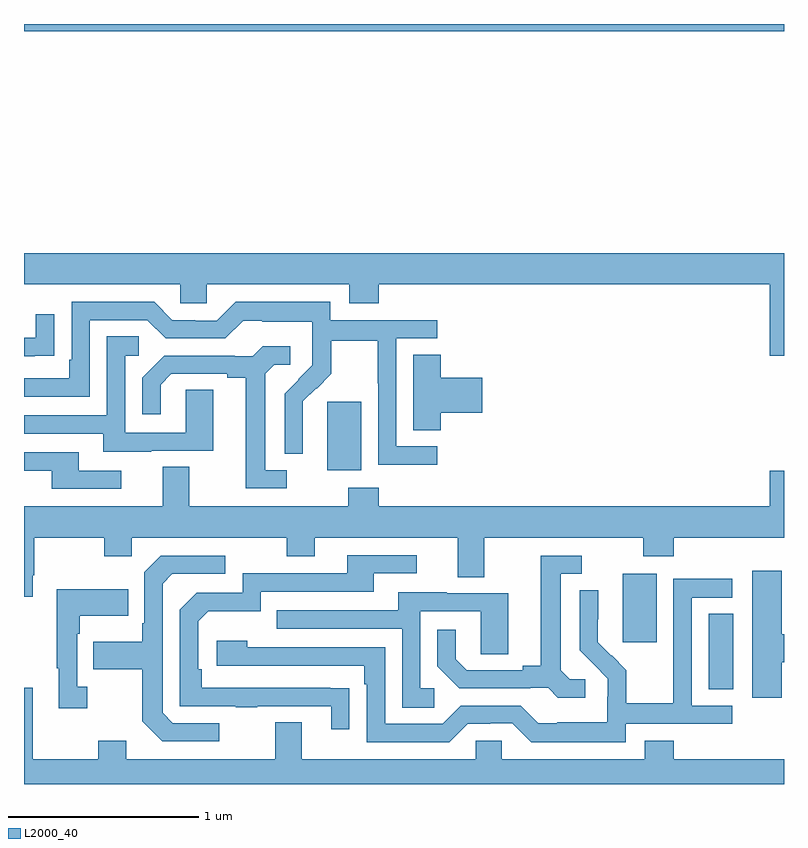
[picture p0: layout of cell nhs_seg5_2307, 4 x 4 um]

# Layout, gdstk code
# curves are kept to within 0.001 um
import gdstk
lib = gdstk.Library(unit=1e-6, precision=1e-09)
def R(c, l, rs):  # rectangles x0, y0, x1, y1
    for r in rs: c.add(gdstk.rectangle(r[:2], r[2:], *l))
def P(c, l, *ps):  # polygons
    for p in ps: c.add(gdstk.Polygon(p, *l))
L2000_40 = (2000, 40)

nhs_seg5_2307 = lib.new_cell('nhs_seg5_2307')
R(nhs_seg5_2307, L2000_40, [(248.603,853.297,248.734,853.694), (248.15,853.545,248.329,853.906), (246.596,854.45,246.775,854.811), (245,856.76,249,856.799)])
P(nhs_seg5_2307, L2000_40, [(249,855.592),(245,855.592),(245,855.428),(245.823,855.428),(245.823,855.33),(245.961,855.33),(245.961,855.428),(246.713,855.428),(246.713,855.329),(246.866,855.329),(246.866,855.428),(248.924,855.428),(248.924,855.054),(249,855.054)],
  [(247.174,854.577),(246.96,854.577),(246.96,855.144),(247.174,855.144),(247.174,855.24),(246.612,855.24),(246.612,855.337),(246.115,855.337),(246.015,855.237),(245.9,855.237),(245.9,855.24),(245.781,855.24),(245.685,855.336),(245.25,855.336),(245.25,855.031),(245.237,855.031),(245.237,854.934),(245,854.934),(245,854.838),(245.346,854.838),(245.346,855.24),(245.649,855.24),(245.745,855.144),(246.06,855.144),(246.153,855.237),(246.253,855.237),(246.253,855.233),(246.516,855.233),(246.516,855.099),(246.518,855.099),(246.518,855.002),(246.372,854.854),(246.372,854.536),(246.468,854.536),(246.467,854.813),(246.537,854.883),(246.54,854.88),(246.617,854.957),(246.617,855.132),(246.862,855.132),(246.862,854.908),(246.864,854.908),(246.864,854.479),(247.174,854.479)],
  [(245.057,855.052),(245.159,855.052),(245.159,855.271),(245.063,855.271),(245.063,855.147),(245,855.147),(245,855.051),(245.057,855.051)],
  [(245.671,854.553),(245.995,854.553),(245.995,854.873),(245.85,854.873),(245.85,854.649),(245.532,854.649),(245.532,855.054),(245.605,855.054),(245.605,855.155),(245.436,855.155),(245.436,854.739),(245,854.739),(245,854.643),(245.417,854.643),(245.417,854.549),(245.671,854.549)],
  [(246.382,854.451),(246.271,854.451),(246.271,854.959),(246.318,855.006),(246.4,855.006),(246.4,855.103),(246.256,855.103),(246.204,855.051),(246.11,855.051),(246.11,855.054),(245.738,855.054),(245.622,854.938),(245.622,854.745),(245.719,854.745),(245.719,854.901),(245.776,854.958),(246.071,854.958),(246.071,854.936),(246.167,854.936),(246.167,854.355),(246.382,854.355)],
  [(247.193,854.753),(247.411,854.753),(247.411,854.936),(247.193,854.936),(247.193,855.059),(247.049,855.059),(247.049,854.662),(247.193,854.662)],
  [(245.512,854.448),(245.287,854.448),(245.287,854.544),(245,854.544),(245,854.448),(245.147,854.448),(245.147,854.352),(245.512,854.352)],
  [(245.047,853.897),(245.055,853.897),(245.055,854.096),(245.422,854.096),(245.422,853.997),(245.568,853.997),(245.568,854.096),(246.382,854.096),(246.382,853.997),(246.529,853.997),(246.529,854.096),(247.283,854.096),(247.283,853.888),(247.423,853.888),(247.423,854.096),(248.26,854.096),(248.26,853.997),(248.42,853.997),(248.42,854.096),(249,854.096),(249,854.449),(248.924,854.449),(248.924,854.26),(246.866,854.26),(246.866,854.359),(246.706,854.359),(246.706,854.26),(245.869,854.26),(245.869,854.468),(245.729,854.468),(245.729,854.26),(245,854.26),(245,853.785),(245.047,853.785)],
  [(246.713,853.304),(245.936,853.305),(245.936,853.402),(245.916,853.402),(245.916,853.656),(245.969,853.709),(246.246,853.709),(246.246,853.812),(246.841,853.812),(246.841,853.908),(247.066,853.908),(247.066,854.004),(246.701,854.004),(246.701,853.908),(246.15,853.908),(246.15,853.806),(245.91,853.806),(245.82,853.716),(245.82,853.209),(246.115,853.209),(246.115,853.204),(246.227,853.204),(246.227,853.209),(246.617,853.209),(246.617,853.086),(246.713,853.086)],
  [(246.028,853.119),(245.784,853.119),(245.73,853.173),(245.73,853.854),(245.781,853.905),(246.058,853.905),(246.058,854.001),(245.721,854.001),(245.634,853.914),(245.634,853.645),(245.622,853.645),(245.622,853.549),(245.365,853.549),(245.365,853.402),(245.622,853.402),(245.622,853.129),(245.727,853.023),(246.028,853.023)],
  [(247.954,853.35),(247.872,853.35),(247.825,853.397),(247.825,853.905),(247.936,853.905),(247.936,854.001),(247.721,854.001),(247.721,853.421),(247.625,853.421),(247.625,853.398),(247.33,853.398),(247.273,853.455),(247.273,853.612),(247.176,853.612),(247.176,853.418),(247.292,853.302),(247.664,853.302),(247.664,853.305),(247.758,853.305),(247.81,853.253),(247.954,853.253)],
  [(248.989,853.439),(249,853.439),(249,853.586),(248.989,853.586),(248.989,853.921),(248.834,853.921),(248.834,853.254),(248.989,853.254)],
  [(248.166,853.116),(248.728,853.116),(248.728,853.212),(248.514,853.212),(248.514,853.779),(248.728,853.779),(248.728,853.878),(248.418,853.878),(248.418,853.448),(248.416,853.448),(248.416,853.225),(248.171,853.225),(248.171,853.399),(248.094,853.476),(248.091,853.473),(248.021,853.544),(248.022,853.82),(247.926,853.82),(247.926,853.502),(248.072,853.354),(248.072,853.257),(248.07,853.257),(248.07,853.123),(247.807,853.123),(247.807,853.119),(247.707,853.119),(247.614,853.212),(247.299,853.212),(247.203,853.116),(246.9,853.116),(246.9,853.518),(246.176,853.518),(246.176,853.552),(246.015,853.552),(246.015,853.422),(246.791,853.422),(246.791,853.325),(246.804,853.325),(246.804,853.02),(247.239,853.02),(247.335,853.116),(247.454,853.116),(247.454,853.119),(247.569,853.119),(247.669,853.019),(248.166,853.019)],
  [(245.332,853.31),(245.28,853.31),(245.28,853.589),(245.293,853.589),(245.293,853.685),(245.549,853.685),(245.549,853.825),(245.172,853.825),(245.172,853.409),(245.183,853.409),(245.183,853.197),(245.332,853.197)],
  [(247.159,853.302),(247.086,853.302),(247.086,853.707),(247.404,853.707),(247.404,853.483),(247.549,853.483),(247.549,853.803),(247.225,853.803),(247.225,853.807),(246.971,853.807),(246.971,853.713),(246.331,853.713),(246.331,853.617),(246.99,853.617),(246.99,853.201),(247.159,853.201)],
  [(249,852.928),(248.42,852.928),(248.42,853.027),(248.267,853.027),(248.267,852.928),(247.515,852.928),(247.515,853.026),(247.377,853.026),(247.377,852.928),(246.463,852.928),(246.463,853.123),(246.323,853.123),(246.323,852.928),(245.539,852.928),(245.539,853.027),(245.392,853.027),(245.392,852.928),(245.047,852.928),(245.047,853.306),(245,853.306),(245,852.799),(249,852.799)])

lib.write_gds('nhs_seg5_2307.gds')
